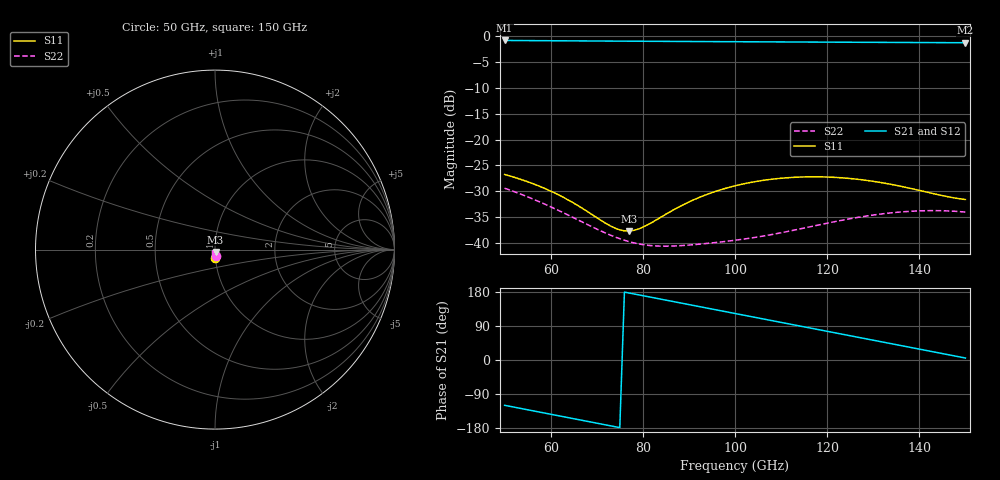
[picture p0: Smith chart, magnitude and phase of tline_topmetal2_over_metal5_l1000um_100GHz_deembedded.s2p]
! Created with skrf 2.0.1 (http://scikit-rf.org).
# GHz S DB R 50.0
!freq dBS11 angS11 dBS21 angS21 dBS12 angS12 dBS22 angS22
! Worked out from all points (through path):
!   101 points, 50 GHz to 150 GHz, reference 50 ohm
!   highest |S21| = -0.79 dB at 50 GHz (marker M1); lowest = -1.2 dB at 150 GHz (marker M2)
!   group delay of S21, straight-line fit = 6.53 ps
!   lowest |S11| = -37.7 dB at 77 GHz (marker M3), VSWR 1.03, Z = 50.3 - j1.26 ohm
!   |S11| at or under -10 dB: start of sweep to end of sweep
!   |S22| runs from -40.7 to -29.4 dB; largest |S21 - S12| = 1e-13
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50  -26.77 -91.5  -0.79 -119.6  -0.79 -119.6  -29.43 -82.6
54  -27.87 -98.2  -0.81 -129.0  -0.81 -129.0  -30.75 -87.7
59  -29.59 -105.1  -0.84 -140.8  -0.84 -140.8  -32.63 -92.2
67  -33.40 -108.4  -0.88 -159.6  -0.88 -159.6  -36.05 -93.1
73  -36.77 -95.2  -0.91 -173.8  -0.91 -173.8  -38.54 -86.4
75  -37.51 -85.9  -0.92 -178.5  -0.92 -178.5  -39.23 -82.6
77  -37.73 -75.1  -0.93 176.8  -0.93 176.8  -39.79 -78.2
80  -36.99 -60.2  -0.94 169.8  -0.94 169.8  -40.37 -71.2
84  -35.00 -48.6  -0.96 160.4  -0.96 160.4  -40.66 -62.0
92  -31.31 -46.2  -1.00 141.6  -1.00 141.6  -40.30 -48.6
100  -28.97 -54.2  -1.03 122.7  -1.03 122.7  -39.52 -40.3
105  -28.06 -60.9  -1.05 111.0  -1.05 111.0  -38.87 -36.6
109  -27.59 -66.5  -1.07 101.6  -1.07 101.6  -38.24 -34.7
113  -27.31 -72.3  -1.09 92.2  -1.09 92.2  -37.53 -34.0
117  -27.22 -77.9  -1.10 82.8  -1.10 82.8  -36.77 -34.6
121  -27.30 -83.2  -1.12 73.4  -1.12 73.4  -36.03 -36.7
125  -27.55 -88.1  -1.13 64.0  -1.13 64.0  -35.35 -40.2
129  -27.97 -92.3  -1.15 54.6  -1.15 54.6  -34.76 -44.9
134  -28.71 -96.2  -1.17 42.8  -1.17 42.8  -34.20 -52.3
142  -30.26 -97.3  -1.20 24.0  -1.20 24.0  -33.78 -67.1
146  -31.05 -94.6  -1.21 14.6  -1.21 14.6  -33.83 -75.7
150  -31.62 -89.5  -1.23 5.2  -1.23 5.2  -34.06 -85.2
